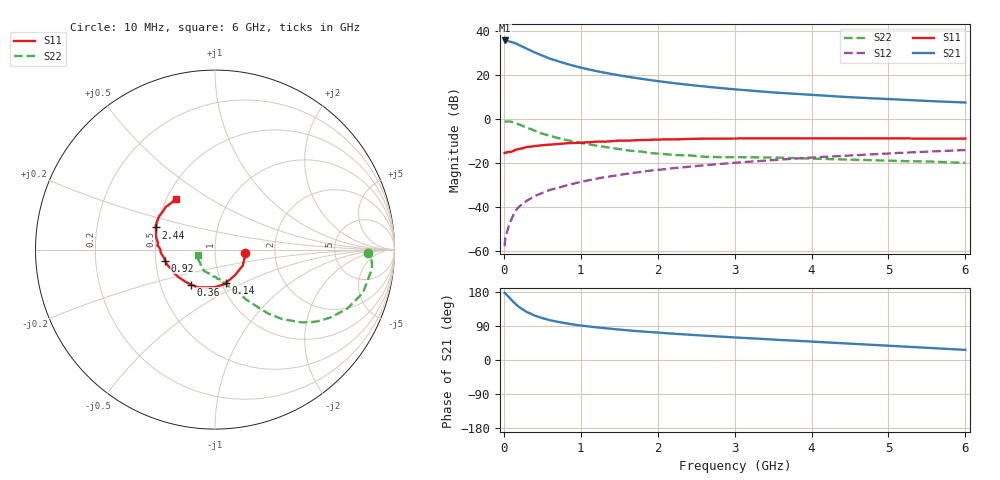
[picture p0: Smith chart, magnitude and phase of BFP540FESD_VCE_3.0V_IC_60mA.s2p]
! Infineon Technologies  Discrete & RF Semiconductors
! BFP540FESD
! VCE =  3.0 V,  IC =  60 mA
! Common Emitter S-Parameters:  Nov 2015
# GHz  S  MA  R  50
!  f  S11  S21  S12  S22
! GHz  MAG  ANG  MAG  ANG  MAG  ANG  MAG  ANG
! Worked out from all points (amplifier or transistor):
!   210 points, 10 MHz to 6 GHz, reference 50 ohm
!   highest |S21| = 35.6 dB at 10 MHz (marker M1)
!   |S21| within 3 dB of that: start of sweep to 253.3 MHz
!   unconditionally stable (mu >= 1): start of sweep to 19.92 MHz; 1.146 GHz to end of sweep
!   at 185 MHz: K = 0.53, MSG = 37.0 dB, |S12| = -40.4 dB
!   at 1.52 GHz: K = 1.04, MAG = 21.2 dB, |S12| = -25.3 dB
!   at 6 GHz: K = 1.17, MAG = 8.3 dB, |S12| = -14.1 dB
!   S11 on the Smith chart (normalised r, x): 10 MHz: 1.40, -0.05; 140 MHz: 1.05, -0.40; 360 MHz: 0.72, -0.29; 920 MHz: 0.56, -0.07; 2.44 GHz: 0.49, +0.14; 6 GHz: 0.56, +0.36
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0.01  0.1677 -6.2  59.91 177.3  0.0013 105.9  0.852 -1.3
0.02  0.1705 -15.3  57.8 175.8  0.002 108.1  0.8713 -0.5
0.05  0.1785 -29.4  58.25 169.0  0.0031 83.8  0.8814 -6.9
0.1  0.1815 -52.7  55.34 157.8  0.0053 81.1  0.859 -16.3
0.14  0.1941 -71.3  52.33 150.1  0.0075 76.5  0.8158 -22.5
0.2  0.2094 -90.5  47.05 139.4  0.0103 76.3  0.7428 -30.8
0.24  0.2145 -101.0  43.51 134.0  0.0117 73.4  0.6966 -35.0
0.3  0.2315 -114.7  38.76 126.4  0.014 72.0  0.629 -40.1
0.36  0.2355 -124.3  34.63 121.3  0.0162 72.1  0.5727 -43.5
0.4  0.2417 -130.4  32.05 117.2  0.0176 72.2  0.5365 -46.1
0.5  0.2532 -141.7  27.07 110.3  0.021 73.0  0.4622 -50.3
0.6  0.2624 -149.7  23.18 105.0  0.0245 73.1  0.4094 -52.9
0.72  0.2702 -157.9  19.81 100.0  0.0278 72.3  0.3626 -55.6
0.92  0.2847 -167.6  15.73 93.3  0.0344 71.7  0.3027 -59.5
1.02  0.2895 -171.5  14.24 90.5  0.038 71.9  0.2806 -61.1
1.5  0.3223 176.1  9.673 80.3  0.0539 69.3  0.2069 -71.5
2.02  0.3403 165.4  7.096 71.9  0.0701 65.7  0.1629 -85.2
2.44  0.3524 159.5  5.81 66.3  0.0835 63.4  0.1471 -95.9
3.1  0.3601 152.9  4.531 58.5  0.1042 59.1  0.1353 -110.1
4.1  0.3611 145.9  3.404 47.5  0.1356 52.4  0.1244 -125.3
5.1  0.3615 138.2  2.751 36.5  0.1677 44.2  0.1107 -139.7
6  0.3586 127.6  2.35 26.7  0.1967 36.6  0.1007 -161.1
